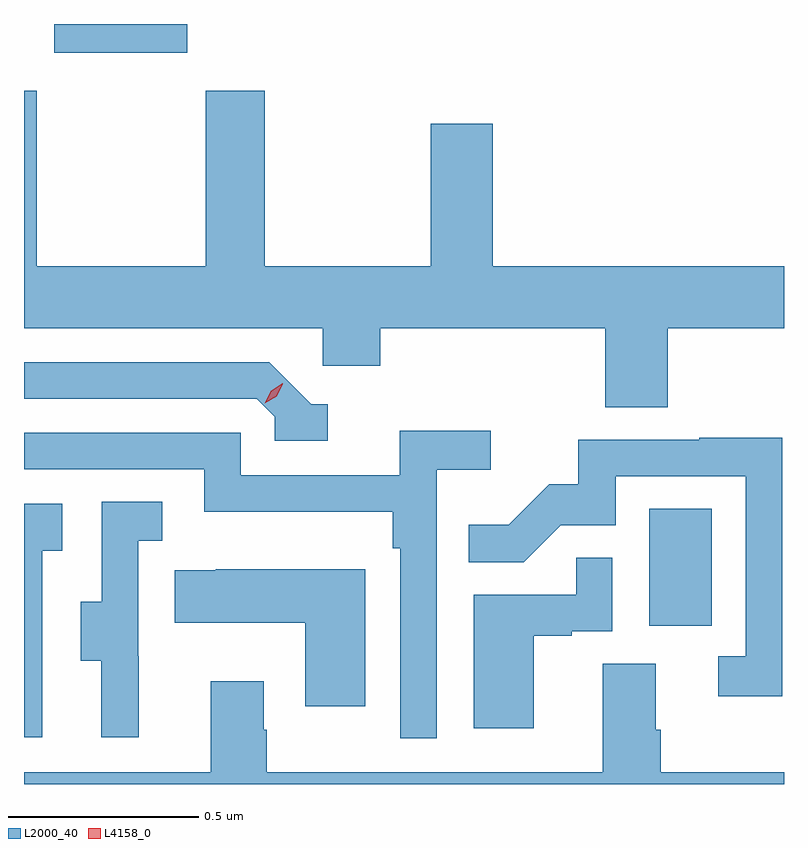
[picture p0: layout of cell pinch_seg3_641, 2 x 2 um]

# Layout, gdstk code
import gdstk
lib = gdstk.Library(unit=1e-6, precision=1e-09)
def R(c, l, rs):  # rectangles x0, y0, x1, y1
    for r in rs: c.add(gdstk.rectangle(r[:2], r[2:], *l))
def P(c, l, *ps):  # polygons
    for p in ps: c.add(gdstk.Polygon(p, *l))
L2000_40 = (2000, 40)
L4158_0 = (4158, 0)

pinch_seg3_641 = lib.new_cell('pinch_seg3_641')
R(pinch_seg3_641, L2000_40, [(1076.672,681.486,1076.836,681.793), (1075.106,682.994,1075.456,683.069)])
P(pinch_seg3_641, L2000_40, [(1076.72,682.268),(1077.026,682.268),(1077.026,682.432),(1076.26,682.432),(1076.26,682.807),(1076.096,682.807),(1076.096,682.432),(1075.659,682.432),(1075.659,682.894),(1075.504,682.894),(1075.504,682.432),(1075.059,682.432),(1075.059,682.894),(1075.026,682.894),(1075.026,682.268),(1075.812,682.268),(1075.812,682.17),(1075.964,682.17),(1075.964,682.268),(1076.555,682.268),(1076.555,682.06),(1076.72,682.06)],
  [(1075.825,682.068),(1075.782,682.068),(1075.671,682.179),(1075.026,682.179),(1075.026,682.083),(1075.638,682.083),(1075.686,682.035),(1075.686,681.972),(1075.825,681.972)],
  [(1076.112,681.896),(1076.254,681.896),(1076.254,681.998),(1076.015,681.998),(1076.015,681.882),(1075.596,681.882),(1075.596,681.993),(1075.026,681.993),(1075.026,681.897),(1075.5,681.897),(1075.5,681.785),(1075.996,681.785),(1075.996,681.689),(1076.016,681.689),(1076.016,681.189),(1076.112,681.189)],
  [(1077.021,681.98),(1076.803,681.98),(1076.803,681.975),(1076.485,681.975),(1076.485,681.858),(1076.408,681.858),(1076.301,681.751),(1076.197,681.751),(1076.197,681.652),(1076.341,681.652),(1076.439,681.75),(1076.583,681.75),(1076.583,681.879),(1076.925,681.879),(1076.925,681.405),(1076.853,681.405),(1076.853,681.3),(1077.021,681.3)],
  [(1075.328,681.405),(1075.326,681.405),(1075.326,681.709),(1075.39,681.709),(1075.39,681.812),(1075.23,681.812),(1075.23,681.549),(1075.175,681.549),(1075.175,681.394),(1075.229,681.394),(1075.229,681.192),(1075.328,681.192)],
  [(1075.074,681.683),(1075.126,681.683),(1075.126,681.807),(1075.026,681.807),(1075.026,681.192),(1075.074,681.192)],
  [(1076.368,681.459),(1076.468,681.459),(1076.468,681.471),(1076.574,681.471),(1076.574,681.665),(1076.479,681.665),(1076.479,681.567),(1076.21,681.567),(1076.21,681.216),(1076.368,681.216)],
  [(1075.924,681.634),(1075.531,681.634),(1075.531,681.631),(1075.423,681.631),(1075.423,681.494),(1075.766,681.494),(1075.766,681.273),(1075.924,681.273)],
  [(1075.026,681.069),(1077.026,681.069),(1077.026,681.1),(1076.702,681.1),(1076.702,681.212),(1076.689,681.212),(1076.689,681.386),(1076.549,681.386),(1076.549,681.1),(1075.665,681.1),(1075.665,681.212),(1075.657,681.212),(1075.657,681.34),(1075.517,681.34),(1075.517,681.1),(1075.026,681.1)])
P(pinch_seg3_641, L4158_0, [(1075.66,682.071),(1075.66,682.071),(1075.676,682.104),(1075.707,682.123),(1075.707,682.123),(1075.707,682.122),(1075.691,682.09),(1075.66,682.071)])

lib.write_gds('pinch_seg3_641.gds')
